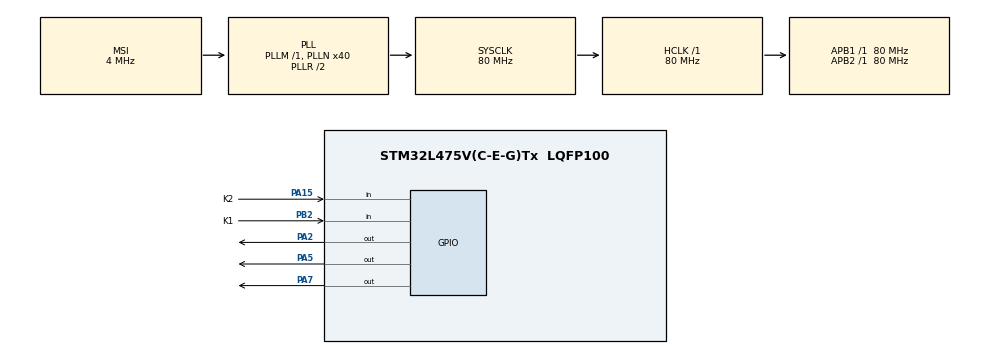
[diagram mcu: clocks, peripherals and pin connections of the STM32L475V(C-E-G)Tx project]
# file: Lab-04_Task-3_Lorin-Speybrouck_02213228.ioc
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Mcu.Family=STM32L4
Mcu.Name=STM32L475V(C-E-G)Tx
Mcu.Package=LQFP100
NVIC.LPTIM2_IRQn=true\:0\:0\:false\:false\:true\:true\:true\:true
NVIC.PriorityGroup=NVIC_PRIORITYGROUP_4
PA15\ (JTDI).GPIO_Label=K2
PA15\ (JTDI).GPIO_Mode=GPIO_MODE_INPUT
PA15\ (JTDI).GPIO_PuPd=GPIO_PULLUP
PA15\ (JTDI).Signal=GPIO_Input
PA2.Signal=GPIO_Output
PA5.Signal=GPIO_Output
PA7.Signal=GPIO_Output
PB2.GPIO_Label=K1
PB2.GPIO_Mode=GPIO_MODE_INPUT
PB2.GPIO_PuPd=GPIO_PULLUP
PB2.Signal=GPIO_Input
PC14-OSC32_IN\ (PC14).Mode=LSE-External-Oscillator
PC14-OSC32_IN\ (PC14).Signal=RCC_OSC32_IN
PC15-OSC32_OUT\ (PC15).Mode=LSE-External-Oscillator
PC15-OSC32_OUT\ (PC15).Signal=RCC_OSC32_OUT
ProjectManager.HeapSize=0x200
ProjectManager.StackSize=0x400
ProjectManager.TargetToolchain=STM32CubeIDE
RCC.ADCFreq_Value=48000000
RCC.AHBFreq_Value=80000000
RCC.APB1Freq_Value=80000000
RCC.APB1TimFreq_Value=80000000
RCC.APB2Freq_Value=80000000
RCC.APB2TimFreq_Value=80000000
RCC.CortexFreq_Value=80000000
RCC.HCLKFreq_Value=80000000
RCC.HSE_VALUE=8000000
RCC.HSI_VALUE=16000000
RCC.LPTIM2CLockSelection=RCC_LPTIM2CLKSOURCE_LSE
RCC.MSI_VALUE=4000000
RCC.PLLN=40
RCC.PLLSAI1N=24
RCC.SYSCLKFreq_VALUE=80000000
RCC.SYSCLKSource=RCC_SYSCLKSOURCE_PLLCLK
RCC.USBFreq_Value=48000000
RCC.VCOOutputFreq_Value=160000000
VP_LPTIM2_VS_LPTIM_counterModeInternalClock.Mode=Counts__internal_clock_event_00
board=B-L475E-IOT01A1

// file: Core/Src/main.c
/* USER CODE BEGIN Header */
/**
 ******************************************************************************
 * @file           : main.c
 * @brief          : Main program body
 ******************************************************************************
 * @attention
 *
 * Copyright (c) 2024 STMicroelectronics.
 * All rights reserved.
 *
 * This software is licensed under terms that can be found in the LICENSE file
 * in the root directory of this software component.
 * If no LICENSE file comes with this software, it is provided AS-IS.
 *
 ******************************************************************************
 */
/* USER CODE END Header */
#include "main.h"

LPTIM_HandleTypeDef hlptim2;

/* USER CODE BEGIN PV */
volatile int run = 1;

//put this in the declaration section of main.c
//      A
//     ---
//  F |   | B
//     -G-
//  E |   | C
//     ---
//      D
// bits are .GFEDCBA
const uint8_t digitToSegment[] = { 0b00111111,    // 0
		0b00000110,    // 1
		0b01011011,    // 2
		0b01001111,    // 3
		0b01100110,    // 4
		0b01101101,    // 5
		0b01111101,    // 6
		0b00000111,    // 7
		0b01111111,    // 8
		0b01101111,    // 9
		0b01110111,    // A
		0b01111100,    // b
		0b00111001,    // C
		0b01011110,    // d
		0b01111001,    // E
		0b01110001     // F
		};
/* USER CODE END PV */

void SystemClock_Config(void);
static void MX_GPIO_Init(void);
static void MX_LPTIM2_Init(void);

/* USER CODE BEGIN 0 */
//put this in the code section of main.c but before void main(void) {}
void Display_CLK(uint8_t level) {
	HAL_GPIO_WritePin(GPIOA, GPIO_PIN_2, level);
	//HAL_Delay(1);
}

void Display_DIO(uint8_t level) {
	HAL_GPIO_WritePin(GPIOA, GPIO_PIN_7, level);
	//HAL_Delay(1);
}

void I2Cstart(void) {
	Display_DIO(1);
	Display_CLK(1); //I2C start condition
	Display_DIO(0); //high to low data while clk high
	Display_CLK(0);
}

void I2Cstop(void) {
	Display_DIO(0);
	Display_CLK(1); //I2C stop condition
	Display_DIO(1); //low to high data while clk high

}

void I2Cwritebyte(uint8_t databyte)  //LSB first for TM1637 chip!!!
{
	for (uint8_t n = 0; n <= 7; n++) {
		if ((databyte & 0x01) > 0)
			Display_DIO(1);
		else
			Display_DIO(0);
		Display_CLK(1);
		databyte >>= 1;
		Display_CLK(0);
	}
	Display_CLK(1); //9th clk  ACK ignored
	Display_CLK(0);
}

void I2Cwritesegment(uint8_t segmentnr, uint8_t hexdigit) {
	I2Cstart();
	I2Cwritebyte(0x40);  //command1 write data to display register
	I2Cstop();
	I2Cstart();
	I2Cwritebyte(0xc0 + (segmentnr & 0x03));  //command2  display address
	I2Cwritebyte(digitToSegment[hexdigit & 0x0F]);  //data1
	I2Cstop();
	I2Cstart();
	I2Cwritebyte(0x88);  //display control --> display on
	I2Cstop();
}

void I2CwriteDECnumber(unsigned int number) {
	for (int8_t digitnr = 3; digitnr >= 0; digitnr--) {
		I2Cwritesegment(digitnr, number % 10);
		number /= 10;
	}
}
/* USER CODE END 0 */

int main(void)
{

  /* MCU Configuration--------------------------------------------------------*/

  /* Reset of all peripherals, Initializes the Flash interface and the Systick. */
  HAL_Init();

  /* Configure the system clock */
  SystemClock_Config();

  /* Initialize all configured peripherals */
  MX_GPIO_Init();
  MX_LPTIM2_Init();
  /* USER CODE BEGIN 2 */
  HAL_LPTIM_TimeOut_Start_IT(&hlptim2, 32767, 32767);
  /* USER CODE END 2 */

  /* Infinite loop */
	while (1) {

    /* USER CODE BEGIN 3 */
		// K2=stop
		if (HAL_GPIO_ReadPin(GPIOA, K2_Pin) == 0) {
			run = 0;
		}
		// K1=continue
		else if (HAL_GPIO_ReadPin(GPIOB, K1_Pin) == 0) {
			run = 1;
		}
	}
  /* USER CODE END 3 */
}

void SystemClock_Config(void)
{
  RCC_OscInitTypeDef RCC_OscInitStruct = {0};
  RCC_ClkInitTypeDef RCC_ClkInitStruct = {0};

  /** Configure the main internal regulator output voltage
  */
  if (HAL_PWREx_ControlVoltageScaling(PWR_REGULATOR_VOLTAGE_SCALE1) != HAL_OK)
  {
    Error_Handler();
  }

  /** Configure LSE Drive Capability
  */
  HAL_PWR_EnableBkUpAccess();
  __HAL_RCC_LSEDRIVE_CONFIG(RCC_LSEDRIVE_LOW);

  /** Initializes the RCC Oscillators according to the specified parameters
  * in the RCC_OscInitTypeDef structure.
  */
  RCC_OscInitStruct.OscillatorType = RCC_OSCILLATORTYPE_LSE|RCC_OSCILLATORTYPE_MSI;
  RCC_OscInitStruct.LSEState = RCC_LSE_ON;
  RCC_OscInitStruct.MSIState = RCC_MSI_ON;
  RCC_OscInitStruct.MSICalibrationValue = 0;
  RCC_OscInitStruct.MSIClockRange = RCC_MSIRANGE_6;
  RCC_OscInitStruct.PLL.PLLState = RCC_PLL_ON;
  RCC_OscInitStruct.PLL.PLLSource = RCC_PLLSOURCE_MSI;
  RCC_OscInitStruct.PLL.PLLM = 1;
  RCC_OscInitStruct.PLL.PLLN = 40;
  RCC_OscInitStruct.PLL.PLLP = RCC_PLLP_DIV7;
  RCC_OscInitStruct.PLL.PLLQ = RCC_PLLQ_DIV2;
  RCC_OscInitStruct.PLL.PLLR = RCC_PLLR_DIV2;
  if (HAL_RCC_OscConfig(&RCC_OscInitStruct) != HAL_OK)
  {
    Error_Handler();
  }

  /** Initializes the CPU, AHB and APB buses clocks
  */
  RCC_ClkInitStruct.ClockType = RCC_CLOCKTYPE_HCLK|RCC_CLOCKTYPE_SYSCLK
                              |RCC_CLOCKTYPE_PCLK1|RCC_CLOCKTYPE_PCLK2;
  RCC_ClkInitStruct.SYSCLKSource = RCC_SYSCLKSOURCE_PLLCLK;
  RCC_ClkInitStruct.AHBCLKDivider = RCC_SYSCLK_DIV1;
  RCC_ClkInitStruct.APB1CLKDivider = RCC_HCLK_DIV1;
  RCC_ClkInitStruct.APB2CLKDivider = RCC_HCLK_DIV1;

  if (HAL_RCC_ClockConfig(&RCC_ClkInitStruct, FLASH_LATENCY_4) != HAL_OK)
  {
    Error_Handler();
  }

  /** Enable MSI Auto calibration
  */
  HAL_RCCEx_EnableMSIPLLMode();
}

static void MX_LPTIM2_Init(void)
{

  hlptim2.Instance = LPTIM2;
  hlptim2.Init.Clock.Source = LPTIM_CLOCKSOURCE_APBCLOCK_LPOSC;
  hlptim2.Init.Clock.Prescaler = LPTIM_PRESCALER_DIV1;
  hlptim2.Init.Trigger.Source = LPTIM_TRIGSOURCE_SOFTWARE;
  hlptim2.Init.OutputPolarity = LPTIM_OUTPUTPOLARITY_HIGH;
  hlptim2.Init.UpdateMode = LPTIM_UPDATE_IMMEDIATE;
  hlptim2.Init.CounterSource = LPTIM_COUNTERSOURCE_INTERNAL;
  hlptim2.Init.Input1Source = LPTIM_INPUT1SOURCE_GPIO;
  hlptim2.Init.Input2Source = LPTIM_INPUT2SOURCE_GPIO;
  if (HAL_LPTIM_Init(&hlptim2) != HAL_OK)
  {
    Error_Handler();
  }

}

static void MX_GPIO_Init(void)
{
  GPIO_InitTypeDef GPIO_InitStruct = {0};

  /* GPIO Ports Clock Enable */
  __HAL_RCC_GPIOC_CLK_ENABLE();
  __HAL_RCC_GPIOA_CLK_ENABLE();
  __HAL_RCC_GPIOB_CLK_ENABLE();

  /*Configure GPIO pin Output Level */
  HAL_GPIO_WritePin(GPIOA, GPIO_PIN_2|GPIO_PIN_5|GPIO_PIN_7, GPIO_PIN_RESET);

  /*Configure GPIO pins : PA2 PA5 PA7 */
  GPIO_InitStruct.Pin = GPIO_PIN_2|GPIO_PIN_5|GPIO_PIN_7;
  GPIO_InitStruct.Mode = GPIO_MODE_OUTPUT_PP;
  GPIO_InitStruct.Pull = GPIO_NOPULL;
  GPIO_InitStruct.Speed = GPIO_SPEED_FREQ_LOW;
  HAL_GPIO_Init(GPIOA, &GPIO_InitStruct);

  /*Configure GPIO pin : K1_Pin */
  GPIO_InitStruct.Pin = K1_Pin;
  GPIO_InitStruct.Mode = GPIO_MODE_INPUT;
  GPIO_InitStruct.Pull = GPIO_PULLUP;
  HAL_GPIO_Init(K1_GPIO_Port, &GPIO_InitStruct);

  /*Configure GPIO pin : K2_Pin */
  GPIO_InitStruct.Pin = K2_Pin;
  GPIO_InitStruct.Mode = GPIO_MODE_INPUT;
  GPIO_InitStruct.Pull = GPIO_PULLUP;
  HAL_GPIO_Init(K2_GPIO_Port, &GPIO_InitStruct);

}

void Error_Handler(void)
{
	__disable_irq();
	while (1) {
	}
}
